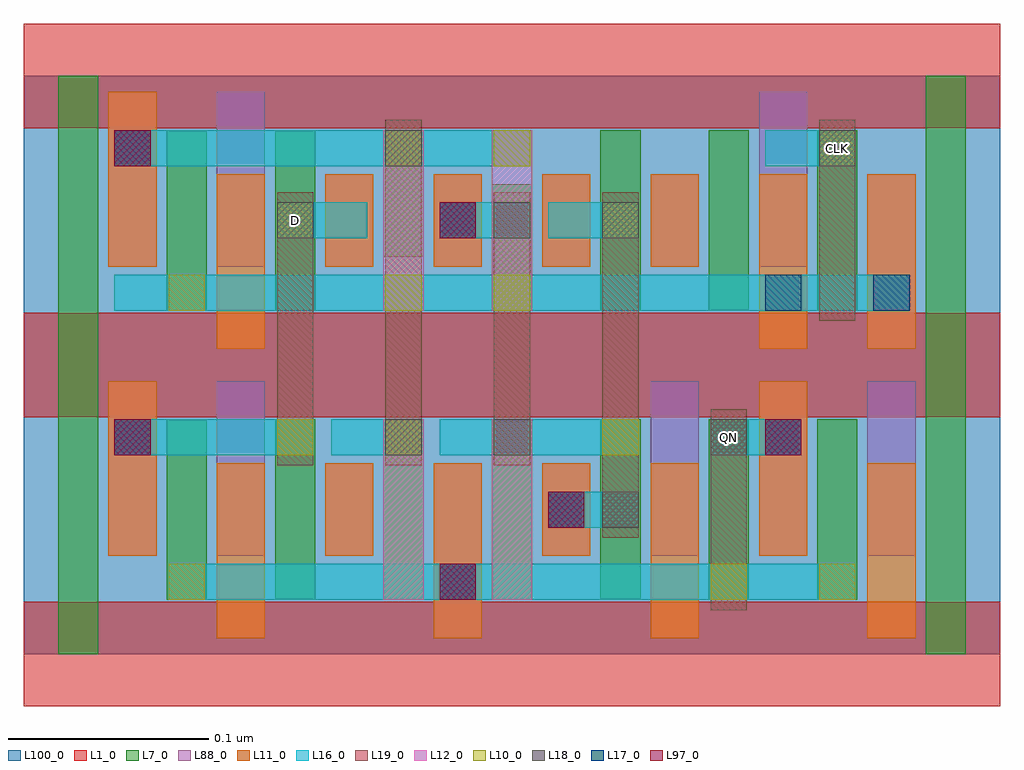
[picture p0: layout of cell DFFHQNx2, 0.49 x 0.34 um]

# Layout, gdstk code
import gdstk
lib = gdstk.Library(unit=1e-6, precision=2.5e-10)
def R(c, l, rs):  # rectangles x0, y0, x1, y1
    for r in rs: c.add(gdstk.rectangle(r[:2], r[2:], *l))
def A(c, l, x, y, w, h, nx, ny, dx, dy):  # array of equal rectangles
    R(c, l, [(x+i*dx, y+j*dy, x+i*dx+w, y+j*dy+h) for i in range(nx) for j in range(ny)])
L1_0 = (1, 0)
L7_0 = (7, 0)
L10_0 = (10, 0)
L11_0 = (11, 0)
L12_0 = (12, 0)
L16_0 = (16, 0)
L17_0 = (17, 0)
L18_0 = (18, 0)
L19_0 = (19, 0)
L88_0 = (88, 0)
L97_0 = (97, 0)
L100_0 = (100, 0)

dffhqnx2 = lib.new_cell('DFFHQNx2')
A(dffhqnx2, L1_0, 0, -0.026, 0.486, 0.052, 1, 3, 0, 0.144)
A(dffhqnx2, L7_0, 0.071, 0.027, 0.02, 0.09, 7, 1, 0.054, 0)
A(dffhqnx2, L7_0, 0.287, 0.171, 0.02, 0.09, 3, 1, 0.054, 0)
R(dffhqnx2, L7_0, [(0.017,0,0.037,0.144), (0.449,0,0.469,0.144), (0.017,0.144,0.037,0.288), (0.449,0.144,0.469,0.288), (0.071,0.171,0.091,0.261), (0.125,0.171,0.145,0.261), (0.233,0.171,0.253,0.234), (0.179,0.198,0.199,0.261)])
A(dffhqnx2, L10_0, 0.18, 0.099, 0.018, 0.018, 1, 3, 0, 0.072)
R(dffhqnx2, L10_0, [(0.072,0.027,0.09,0.045), (0.342,0.027,0.36,0.045), (0.396,0.027,0.414,0.045), (0.126,0.099,0.144,0.117), (0.288,0.099,0.306,0.117), (0.072,0.171,0.09,0.189), (0.234,0.171,0.252,0.189), (0.126,0.207,0.144,0.225), (0.288,0.207,0.306,0.225), (0.234,0.243,0.252,0.261), (0.396,0.243,0.414,0.261)])
A(dffhqnx2, L11_0, 0.096, 0.008, 0.024, 0.087, 4, 1, 0.108, 0)
A(dffhqnx2, L11_0, 0.15, 0.193, 0.024, 0.046, 4, 1, 0.054, 0)
R(dffhqnx2, L11_0, [(0.042,0.049,0.066,0.136), (0.15,0.049,0.174,0.095), (0.258,0.049,0.282,0.095), (0.366,0.049,0.39,0.136), (0.096,0.152,0.12,0.239), (0.366,0.152,0.39,0.239), (0.42,0.152,0.444,0.239), (0.042,0.193,0.066,0.28)])
R(dffhqnx2, L12_0, [(0.179,0.027,0.199,0.117), (0.233,0.027,0.253,0.117), (0.179,0.171,0.199,0.261), (0.233,0.171,0.253,0.261)])
R(dffhqnx2, L16_0, [(0.072,0.027,0.414,0.045), (0.261,0.063,0.306,0.081), (0.045,0.099,0.144,0.117), (0.153,0.099,0.198,0.117), (0.207,0.099,0.306,0.117), (0.342,0.099,0.387,0.117), (0.045,0.171,0.441,0.189), (0.126,0.207,0.171,0.225), (0.207,0.207,0.252,0.225), (0.261,0.207,0.306,0.225), (0.045,0.243,0.252,0.261), (0.369,0.243,0.414,0.261)])
R(dffhqnx2, L17_0, [(0.207,0.027,0.225,0.045), (0.261,0.063,0.279,0.081), (0.045,0.099,0.063,0.117), (0.369,0.099,0.387,0.117), (0.369,0.171,0.387,0.189), (0.423,0.171,0.441,0.189), (0.207,0.207,0.225,0.225), (0.045,0.243,0.063,0.261)])
R(dffhqnx2, L18_0, [(0.288,0.063,0.306,0.081), (0.18,0.099,0.198,0.117), (0.234,0.099,0.252,0.117), (0.342,0.099,0.36,0.117), (0.126,0.207,0.144,0.225), (0.234,0.207,0.252,0.225), (0.288,0.207,0.306,0.225), (0.18,0.243,0.198,0.261), (0.396,0.243,0.414,0.261)])
R(dffhqnx2, L19_0, [(0.342,0.022,0.36,0.122), (0.288,0.058,0.306,0.23), (0.126,0.094,0.144,0.23), (0.18,0.094,0.198,0.266), (0.234,0.094,0.252,0.23), (0.396,0.166,0.414,0.266)])
A(dffhqnx2, L88_0, 0.312, 0.049, 0.024, 0.087, 3, 1, 0.054, 0)
A(dffhqnx2, L88_0, 0.15, 0.193, 0.024, 0.046, 4, 1, 0.054, 0)
R(dffhqnx2, L88_0, [(0.204,0.008,0.228,0.095), (0.042,0.049,0.066,0.136), (0.096,0.049,0.12,0.136), (0.15,0.049,0.174,0.095), (0.258,0.049,0.282,0.095), (0.42,0.152,0.444,0.239), (0.042,0.193,0.066,0.28), (0.096,0.193,0.12,0.28), (0.366,0.193,0.39,0.28)])
R(dffhqnx2, L97_0, [(0.207,0.027,0.225,0.045), (0.261,0.063,0.279,0.081), (0.045,0.099,0.063,0.117), (0.369,0.099,0.387,0.117), (0.207,0.207,0.225,0.225), (0.045,0.243,0.063,0.261)])
R(dffhqnx2, L100_0, [(0,0,0.486,0.288)])
dffhqnx2.add(gdstk.Label('CLK', (0.405,0.252), layer=19, texttype=251))
dffhqnx2.add(gdstk.Label('D', (0.135,0.216), layer=19, texttype=251))
dffhqnx2.add(gdstk.Label('QN', (0.351,0.108), layer=19, texttype=251))

lib.write_gds('DFFHQNx2.gds')
